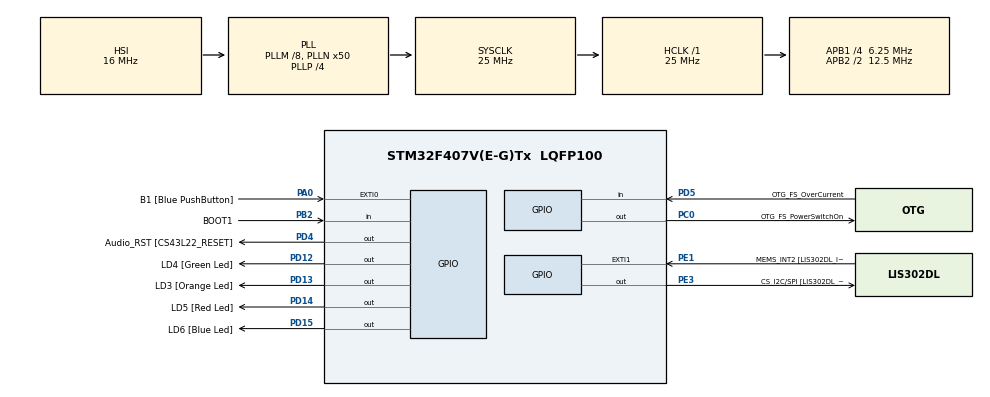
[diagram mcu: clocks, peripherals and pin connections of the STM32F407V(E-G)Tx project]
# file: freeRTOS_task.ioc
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Mcu.Family=STM32F4
Mcu.Name=STM32F407V(E-G)Tx
Mcu.Package=LQFP100
NVIC.PriorityGroup=NVIC_PRIORITYGROUP_4
NVIC.TIM6_DAC_IRQn=true\:0\:0\:false\:false\:true\:false\:true\:true
NVIC.TimeBase=TIM6_DAC_IRQn
NVIC.TimeBaseIP=TIM6
PA0-WKUP.GPIO_Label=B1 [Blue PushButton]
PA0-WKUP.Signal=GPXTI0
PA10.GPIO_Label=OTG_FS_ID
PA10.GPIO_Mode=GPIO_MODE_AF_PP
PA10.GPIO_PuPd=GPIO_NOPULL
PA10.GPIO_Speed=GPIO_SPEED_FREQ_LOW
PA10.Signal=USB_OTG_FS_ID
PA11.GPIO_Label=OTG_FS_DM
PA11.GPIO_Mode=GPIO_MODE_AF_PP
PA11.GPIO_PuPd=GPIO_NOPULL
PA11.GPIO_Speed=GPIO_SPEED_FREQ_LOW
PA11.Signal=USB_OTG_FS_DM
PA12.GPIO_Label=OTG_FS_DP
PA12.GPIO_Mode=GPIO_MODE_AF_PP
PA12.GPIO_PuPd=GPIO_NOPULL
PA12.GPIO_Speed=GPIO_SPEED_FREQ_LOW
PA12.Signal=USB_OTG_FS_DP
PA13.GPIO_Label=SWDIO
PA13.Signal=SYS_JTMS-SWDIO
PA14.GPIO_Label=SWCLK
PA14.Signal=SYS_JTCK-SWCLK
PA4.GPIO_Label=I2S3_WS [CS43L22_LRCK]
PA4.GPIO_Mode=GPIO_MODE_AF_PP
PA4.GPIO_PuPd=GPIO_NOPULL
PA4.GPIO_Speed=GPIO_SPEED_FREQ_LOW
PA4.Signal=I2S3_WS
PA5.GPIO_Label=SPI1_SCK [LIS302DL_SCL/SPC]
PA5.GPIO_Mode=GPIO_MODE_AF_PP
PA5.GPIO_PuPd=GPIO_NOPULL
PA5.GPIO_Speed=GPIO_SPEED_FREQ_LOW
PA5.Signal=SPI1_SCK
PA6.GPIO_Label=SPI1_MISO [LIS302DL_SDO]
PA6.GPIO_Mode=GPIO_MODE_AF_PP
PA6.GPIO_PuPd=GPIO_NOPULL
PA6.GPIO_Speed=GPIO_SPEED_FREQ_LOW
PA6.Signal=SPI1_MISO
PA7.GPIO_Label=SPI1_MOSI [LIS302DL_SDA/SDI/SDO]
PA7.GPIO_Mode=GPIO_MODE_AF_PP
PA7.GPIO_PuPd=GPIO_NOPULL
PA7.GPIO_Speed=GPIO_SPEED_FREQ_LOW
PA7.Signal=SPI1_MOSI
PA9.GPIO_Label=VBUS_FS
PA9.GPIO_Mode=GPIO_MODE_INPUT
PA9.GPIO_PuPd=GPIO_NOPULL
PA9.Signal=USB_OTG_FS_VBUS
PB10.GPIO_Label=CLK_IN [MP45DT02_CLK]
PB10.GPIO_Mode=GPIO_MODE_AF_PP
PB10.GPIO_PuPd=GPIO_NOPULL
PB10.GPIO_Speed=GPIO_SPEED_FREQ_LOW
PB10.Signal=I2S2_CK
PB2.GPIO_Label=BOOT1
PB2.GPIO_Mode=GPIO_MODE_INPUT
PB2.GPIO_PuPd=GPIO_NOPULL
PB2.Signal=GPIO_Input
PB3.GPIO_Label=SWO
PB3.Signal=SYS_JTDO-SWO
PB6.GPIO_Label=Audio_SCL [CS43L22_SCL]
PB6.GPIO_Mode=GPIO_MODE_AF_OD
PB6.GPIO_PuPd=GPIO_NOPULL
PB6.GPIO_Speed=GPIO_SPEED_FREQ_LOW
PB6.Signal=I2C1_SCL
PB9.GPIO_Label=Audio_SDA [CS43L22_SDA]
PB9.GPIO_Mode=GPIO_MODE_AF_OD
PB9.GPIO_PuPd=GPIO_NOPULL
PB9.GPIO_Speed=GPIO_SPEED_FREQ_LOW
PB9.Signal=I2C1_SDA
PC0.GPIO_Label=OTG_FS_PowerSwitchOn
PC0.GPIO_PuPd=GPIO_NOPULL
PC0.GPIO_Speed=GPIO_SPEED_FREQ_LOW
PC0.PinState=GPIO_PIN_SET
PC0.Signal=GPIO_Output
PC10.GPIO_Label=I2S3_SCK [CS43L22_SCLK]
PC10.GPIO_Mode=GPIO_MODE_AF_PP
PC10.GPIO_PuPd=GPIO_NOPULL
PC10.GPIO_Speed=GPIO_SPEED_FREQ_LOW
PC10.Signal=I2S3_CK
PC12.GPIO_Label=I2S3_SD [CS43L22_SDIN]
PC12.GPIO_Mode=GPIO_MODE_AF_PP
PC12.GPIO_PuPd=GPIO_NOPULL
PC12.GPIO_Speed=GPIO_SPEED_FREQ_LOW
PC12.Signal=I2S3_SD
PC14-OSC32_IN.GPIO_Label=PC14-OSC32_IN
PC14-OSC32_IN.Signal=RCC_OSC32_IN
PC15-OSC32_OUT.GPIO_Label=PC15-OSC32_OUT
PC15-OSC32_OUT.Signal=RCC_OSC32_OUT
PC3.GPIO_Label=PDM_OUT [MP45DT02_DOUT]
PC3.GPIO_Mode=GPIO_MODE_AF_PP
PC3.GPIO_PuPd=GPIO_NOPULL
PC3.GPIO_Speed=GPIO_SPEED_FREQ_LOW
PC3.Signal=I2S2_SD
PC7.GPIO_Label=I2S3_MCK [CS43L22_MCLK]
PC7.GPIO_Mode=GPIO_MODE_AF_PP
PC7.GPIO_PuPd=GPIO_NOPULL
PC7.GPIO_Speed=GPIO_SPEED_FREQ_LOW
PC7.Signal=I2S3_MCK
PD12.GPIO_Label=LD4 [Green Led]
PD12.GPIO_PuPd=GPIO_NOPULL
PD12.GPIO_Speed=GPIO_SPEED_FREQ_LOW
PD12.Signal=GPIO_Output
PD13.GPIO_Label=LD3 [Orange Led]
PD13.GPIO_PuPd=GPIO_NOPULL
PD13.GPIO_Speed=GPIO_SPEED_FREQ_LOW
PD13.Signal=GPIO_Output
PD14.GPIO_Label=LD5 [Red Led]
PD14.GPIO_PuPd=GPIO_NOPULL
PD14.GPIO_Speed=GPIO_SPEED_FREQ_LOW
PD14.Signal=GPIO_Output
PD15.GPIO_Label=LD6 [Blue Led]
PD15.GPIO_PuPd=GPIO_NOPULL
PD15.GPIO_Speed=GPIO_SPEED_FREQ_LOW
PD15.Signal=GPIO_Output
PD4.GPIO_Label=Audio_RST [CS43L22_RESET]
PD4.GPIO_PuPd=GPIO_NOPULL
PD4.GPIO_Speed=GPIO_SPEED_FREQ_LOW
PD4.Signal=GPIO_Output
PD5.GPIO_Label=OTG_FS_OverCurrent
PD5.GPIO_Mode=GPIO_MODE_INPUT
PD5.GPIO_PuPd=GPIO_NOPULL
PD5.Signal=GPIO_Input
PE1.GPIO_Label=MEMS_INT2 [LIS302DL_INT2]
PE1.GPIO_ModeDefaultEXTI=GPIO_MODE_EVT_RISING
PE1.GPIO_PuPd=GPIO_NOPULL
PE1.Signal=GPXTI1
PE3.GPIO_Label=CS_I2C/SPI [LIS302DL_CS_I2C/SPI]
PE3.GPIO_PuPd=GPIO_NOPULL
PE3.GPIO_Speed=GPIO_SPEED_FREQ_LOW
PE3.Signal=GPIO_Output
PH0-OSC_IN.GPIO_Label=PH0-OSC_IN
PH0-OSC_IN.Signal=RCC_OSC_IN
PH1-OSC_OUT.GPIO_Label=PH1-OSC_OUT
PH1-OSC_OUT.Signal=RCC_OSC_OUT
ProjectManager.HeapSize=0x200
ProjectManager.StackSize=0x400
ProjectManager.TargetToolchain=STM32CubeIDE
RCC.48MHZClocksFreq_Value=14285714.285714285
RCC.AHBFreq_Value=25000000
RCC.APB1CLKDivider=RCC_HCLK_DIV4
RCC.APB1Freq_Value=6250000
RCC.APB1TimFreq_Value=12500000
RCC.APB2CLKDivider=RCC_HCLK_DIV2
RCC.APB2Freq_Value=12500000
RCC.APB2TimFreq_Value=25000000
RCC.CortexFreq_Value=25000000
RCC.HCLKFreq_Value=25000000
RCC.HSE_VALUE=8000000
RCC.HSI_VALUE=16000000
RCC.LSE_VALUE=32768
RCC.PLLM=8
RCC.PLLN=50
RCC.PLLP=RCC_PLLP_DIV4
RCC.PLLQ=7
RCC.SYSCLKFreq_VALUE=25000000
RCC.SYSCLKSource=RCC_SYSCLKSOURCE_PLLCLK
RCC.VCOOutputFreq_Value=100000000
VP_SYS_VS_tim6.Mode=TIM6
board=STM32F407G-DISC1

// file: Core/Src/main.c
/* USER CODE BEGIN Header */
/**
  ******************************************************************************
  * @file           : main.c
  * @brief          : Main program body
  ******************************************************************************
  * @attention
  *
  * Copyright (c) 2023 STMicroelectronics.
  * All rights reserved.
  *
  * This software is licensed under terms that can be found in the LICENSE file
  * in the root directory of this software component.
  * If no LICENSE file comes with this software, it is provided AS-IS.
  *
  ******************************************************************************
  */
/* USER CODE END Header */
#include "main.h"

/* USER CODE BEGIN Includes */
#include <stdio.h>
#include "FreeRTOS.h"
#include "task.h"
/* USER CODE END Includes */

/* USER CODE BEGIN PV */
#define DWT_CTRL   (*(volatile uint32_t*)0xE0001000)
/* USER CODE END PV */

void SystemClock_Config(void);
static void MX_GPIO_Init(void);
/* USER CODE BEGIN PFP */
static void led_green_handler(void* parameters);
static void led_red_handler(void* parameters);
static void led_orange_handler(void* parameters);
static void button_handler(void* parameters);
/* USER CODE END PFP */

/* USER CODE BEGIN 0 */
TaskHandle_t task1_handle;
TaskHandle_t task2_handle;
TaskHandle_t task3_handle;
TaskHandle_t task4_handle;

TaskHandle_t volatile next_task_handle = NULL;
/* USER CODE END 0 */

void GPIO_Init(void)
{
	RCC->AHB1ENR |= (1U<<0); // Enable GPIOA Clock
	RCC->AHB1ENR |= (1U<<3); // Enable GPIOD Clock
	GPIOD -> MODER |= (1U<<12*2);
	GPIOD -> MODER |= (1U<<13*2);
	GPIOD -> MODER |= (1U<<14*2);// Set Pin PD12(Green), PD13(Orange), PD14(Red) as Output Mode

	GPIOA->MODER &= ~(1U<<0*2); // Set Pin PA0(Button)
}

int main(void)
{
  /* USER CODE BEGIN 1 */

	GPIO_Init();
	BaseType_t status;
  /* USER CODE END 1 */

  /* MCU Configuration--------------------------------------------------------*/

  /* Reset of all peripherals, Initializes the Flash interface and the Systick. */
  HAL_Init();

  /* Configure the system clock */
  SystemClock_Config();

  /* Initialize all configured peripherals */
  MX_GPIO_Init();
  /* USER CODE BEGIN 2 */
  DWT_CTRL |=(1<<0);

  status = xTaskCreate(led_green_handler,"LED_green_task",200,NULL, 3, &task1_handle);

  configASSERT(status == pdPASS);

  next_task_handle = task1_handle;

  status = xTaskCreate(led_red_handler,"LED_red_task",200,NULL, 2, &task2_handle);

  configASSERT(status == pdPASS);

  status = xTaskCreate(led_orange_handler,"LED_orange_task",200,NULL, 1, &task3_handle);

  configASSERT(status == pdPASS);

  status = xTaskCreate(button_handler,"Button_task",200,NULL, 4, &task4_handle);

  configASSERT(status == pdPASS);

  //start the freeRTOS scheduler
  vTaskStartScheduler();
  /* USER CODE END 2 */

  /* Infinite loop */
  while (1)
  {

  }
}

void SystemClock_Config(void)
{
  RCC_OscInitTypeDef RCC_OscInitStruct = {0};
  RCC_ClkInitTypeDef RCC_ClkInitStruct = {0};

  /** Configure the main internal regulator output voltage
  */
  __HAL_RCC_PWR_CLK_ENABLE();
  __HAL_PWR_VOLTAGESCALING_CONFIG(PWR_REGULATOR_VOLTAGE_SCALE1);

  /** Initializes the RCC Oscillators according to the specified parameters
  * in the RCC_OscInitTypeDef structure.
  */
  RCC_OscInitStruct.OscillatorType = RCC_OSCILLATORTYPE_HSI;
  RCC_OscInitStruct.HSIState = RCC_HSI_ON;
  RCC_OscInitStruct.HSICalibrationValue = RCC_HSICALIBRATION_DEFAULT;
  RCC_OscInitStruct.PLL.PLLState = RCC_PLL_ON;
  RCC_OscInitStruct.PLL.PLLSource = RCC_PLLSOURCE_HSI;
  RCC_OscInitStruct.PLL.PLLM = 8;
  RCC_OscInitStruct.PLL.PLLN = 50;
  RCC_OscInitStruct.PLL.PLLP = RCC_PLLP_DIV4;
  RCC_OscInitStruct.PLL.PLLQ = 7;
  if (HAL_RCC_OscConfig(&RCC_OscInitStruct) != HAL_OK)
  {
    Error_Handler();
  }

  /** Initializes the CPU, AHB and APB buses clocks
  */
  RCC_ClkInitStruct.ClockType = RCC_CLOCKTYPE_HCLK|RCC_CLOCKTYPE_SYSCLK
                              |RCC_CLOCKTYPE_PCLK1|RCC_CLOCKTYPE_PCLK2;
  RCC_ClkInitStruct.SYSCLKSource = RCC_SYSCLKSOURCE_PLLCLK;
  RCC_ClkInitStruct.AHBCLKDivider = RCC_SYSCLK_DIV1;
  RCC_ClkInitStruct.APB1CLKDivider = RCC_HCLK_DIV4;
  RCC_ClkInitStruct.APB2CLKDivider = RCC_HCLK_DIV2;

  if (HAL_RCC_ClockConfig(&RCC_ClkInitStruct, FLASH_LATENCY_0) != HAL_OK)
  {
    Error_Handler();
  }
}

static void MX_GPIO_Init(void)
{
  GPIO_InitTypeDef GPIO_InitStruct = {0};

  /* GPIO Ports Clock Enable */
  __HAL_RCC_GPIOE_CLK_ENABLE();
  __HAL_RCC_GPIOC_CLK_ENABLE();
  __HAL_RCC_GPIOH_CLK_ENABLE();
  __HAL_RCC_GPIOA_CLK_ENABLE();
  __HAL_RCC_GPIOB_CLK_ENABLE();
  __HAL_RCC_GPIOD_CLK_ENABLE();

  /*Configure GPIO pin Output Level */
  HAL_GPIO_WritePin(CS_I2C_SPI_GPIO_Port, CS_I2C_SPI_Pin, GPIO_PIN_RESET);

  /*Configure GPIO pin Output Level */
  HAL_GPIO_WritePin(OTG_FS_PowerSwitchOn_GPIO_Port, OTG_FS_PowerSwitchOn_Pin, GPIO_PIN_SET);

  /*Configure GPIO pin Output Level */
  HAL_GPIO_WritePin(GPIOD, LD4_Pin|LD3_Pin|LD5_Pin|LD6_Pin
                          |Audio_RST_Pin, GPIO_PIN_RESET);

  /*Configure GPIO pin : CS_I2C_SPI_Pin */
  GPIO_InitStruct.Pin = CS_I2C_SPI_Pin;
  GPIO_InitStruct.Mode = GPIO_MODE_OUTPUT_PP;
  GPIO_InitStruct.Pull = GPIO_NOPULL;
  GPIO_InitStruct.Speed = GPIO_SPEED_FREQ_LOW;
  HAL_GPIO_Init(CS_I2C_SPI_GPIO_Port, &GPIO_InitStruct);

  /*Configure GPIO pin : OTG_FS_PowerSwitchOn_Pin */
  GPIO_InitStruct.Pin = OTG_FS_PowerSwitchOn_Pin;
  GPIO_InitStruct.Mode = GPIO_MODE_OUTPUT_PP;
  GPIO_InitStruct.Pull = GPIO_NOPULL;
  GPIO_InitStruct.Speed = GPIO_SPEED_FREQ_LOW;
  HAL_GPIO_Init(OTG_FS_PowerSwitchOn_GPIO_Port, &GPIO_InitStruct);

  /*Configure GPIO pin : PDM_OUT_Pin */
  GPIO_InitStruct.Pin = PDM_OUT_Pin;
  GPIO_InitStruct.Mode = GPIO_MODE_AF_PP;
  GPIO_InitStruct.Pull = GPIO_NOPULL;
  GPIO_InitStruct.Speed = GPIO_SPEED_FREQ_LOW;
  GPIO_InitStruct.Alternate = GPIO_AF5_SPI2;
  HAL_GPIO_Init(PDM_OUT_GPIO_Port, &GPIO_InitStruct);

  /*Configure GPIO pin : B1_Pin */
  GPIO_InitStruct.Pin = B1_Pin;
  GPIO_InitStruct.Mode = GPIO_MODE_IT_RISING;
  GPIO_InitStruct.Pull = GPIO_NOPULL;
  HAL_GPIO_Init(B1_GPIO_Port, &GPIO_InitStruct);

  /*Configure GPIO pin : I2S3_WS_Pin */
  GPIO_InitStruct.Pin = I2S3_WS_Pin;
  GPIO_InitStruct.Mode = GPIO_MODE_AF_PP;
  GPIO_InitStruct.Pull = GPIO_NOPULL;
  GPIO_InitStruct.Speed = GPIO_SPEED_FREQ_LOW;
  GPIO_InitStruct.Alternate = GPIO_AF6_SPI3;
  HAL_GPIO_Init(I2S3_WS_GPIO_Port, &GPIO_InitStruct);

  /*Configure GPIO pins : SPI1_SCK_Pin SPI1_MISO_Pin SPI1_MOSI_Pin */
  GPIO_InitStruct.Pin = SPI1_SCK_Pin|SPI1_MISO_Pin|SPI1_MOSI_Pin;
  GPIO_InitStruct.Mode = GPIO_MODE_AF_PP;
  GPIO_InitStruct.Pull = GPIO_NOPULL;
  GPIO_InitStruct.Speed = GPIO_SPEED_FREQ_LOW;
  GPIO_InitStruct.Alternate = GPIO_AF5_SPI1;
  HAL_GPIO_Init(GPIOA, &GPIO_InitStruct);

  /*Configure GPIO pin : BOOT1_Pin */
  GPIO_InitStruct.Pin = BOOT1_Pin;
  GPIO_InitStruct.Mode = GPIO_MODE_INPUT;
  GPIO_InitStruct.Pull = GPIO_NOPULL;
  HAL_GPIO_Init(BOOT1_GPIO_Port, &GPIO_InitStruct);

  /*Configure GPIO pin : CLK_IN_Pin */
  GPIO_InitStruct.Pin = CLK_IN_Pin;
  GPIO_InitStruct.Mode = GPIO_MODE_AF_PP;
  GPIO_InitStruct.Pull = GPIO_NOPULL;
  GPIO_InitStruct.Speed = GPIO_SPEED_FREQ_LOW;
  GPIO_InitStruct.Alternate = GPIO_AF5_SPI2;
  HAL_GPIO_Init(CLK_IN_GPIO_Port, &GPIO_InitStruct);

  /*Configure GPIO pins : LD4_Pin LD3_Pin LD5_Pin LD6_Pin
                           Audio_RST_Pin */
  GPIO_InitStruct.Pin = LD4_Pin|LD3_Pin|LD5_Pin|LD6_Pin
                          |Audio_RST_Pin;
  GPIO_InitStruct.Mode = GPIO_MODE_OUTPUT_PP;
  GPIO_InitStruct.Pull = GPIO_NOPULL;
  GPIO_InitStruct.Speed = GPIO_SPEED_FREQ_LOW;
  HAL_GPIO_Init(GPIOD, &GPIO_InitStruct);

  /*Configure GPIO pins : I2S3_MCK_Pin I2S3_SCK_Pin I2S3_SD_Pin */
  GPIO_InitStruct.Pin = I2S3_MCK_Pin|I2S3_SCK_Pin|I2S3_SD_Pin;
  GPIO_InitStruct.Mode = GPIO_MODE_AF_PP;
  GPIO_InitStruct.Pull = GPIO_NOPULL;
  GPIO_InitStruct.Speed = GPIO_SPEED_FREQ_LOW;
  GPIO_InitStruct.Alternate = GPIO_AF6_SPI3;
  HAL_GPIO_Init(GPIOC, &GPIO_InitStruct);

  /*Configure GPIO pin : VBUS_FS_Pin */
  GPIO_InitStruct.Pin = VBUS_FS_Pin;
  GPIO_InitStruct.Mode = GPIO_MODE_INPUT;
  GPIO_InitStruct.Pull = GPIO_NOPULL;
  HAL_GPIO_Init(VBUS_FS_GPIO_Port, &GPIO_InitStruct);

  /*Configure GPIO pins : OTG_FS_ID_Pin OTG_FS_DM_Pin OTG_FS_DP_Pin */
  GPIO_InitStruct.Pin = OTG_FS_ID_Pin|OTG_FS_DM_Pin|OTG_FS_DP_Pin;
  GPIO_InitStruct.Mode = GPIO_MODE_AF_PP;
  GPIO_InitStruct.Pull = GPIO_NOPULL;
  GPIO_InitStruct.Speed = GPIO_SPEED_FREQ_LOW;
  GPIO_InitStruct.Alternate = GPIO_AF10_OTG_FS;
  HAL_GPIO_Init(GPIOA, &GPIO_InitStruct);

  /*Configure GPIO pin : OTG_FS_OverCurrent_Pin */
  GPIO_InitStruct.Pin = OTG_FS_OverCurrent_Pin;
  GPIO_InitStruct.Mode = GPIO_MODE_INPUT;
  GPIO_InitStruct.Pull = GPIO_NOPULL;
  HAL_GPIO_Init(OTG_FS_OverCurrent_GPIO_Port, &GPIO_InitStruct);

  /*Configure GPIO pins : Audio_SCL_Pin Audio_SDA_Pin */
  GPIO_InitStruct.Pin = Audio_SCL_Pin|Audio_SDA_Pin;
  GPIO_InitStruct.Mode = GPIO_MODE_AF_OD;
  GPIO_InitStruct.Pull = GPIO_NOPULL;
  GPIO_InitStruct.Speed = GPIO_SPEED_FREQ_LOW;
  GPIO_InitStruct.Alternate = GPIO_AF4_I2C1;
  HAL_GPIO_Init(GPIOB, &GPIO_InitStruct);

  /*Configure GPIO pin : MEMS_INT2_Pin */
  GPIO_InitStruct.Pin = MEMS_INT2_Pin;
  GPIO_InitStruct.Mode = GPIO_MODE_EVT_RISING;
  GPIO_InitStruct.Pull = GPIO_NOPULL;
  HAL_GPIO_Init(MEMS_INT2_GPIO_Port, &GPIO_InitStruct);

}

/* USER CODE BEGIN 4 */
static void led_green_handler(void* parameters)
{

	BaseType_t status;
	while(1)
	{
		//HAL_GPIO_TogglePin(GPIOD, LED_GREEN_PIN);
		GPIOD -> ODR^=(1<<12);
//		HAL_Delay(1000);
		//vTaskDelay(pdMS_TO_TICKS(1000));
		status = xTaskNotifyWait(0,0,NULL,pdMS_TO_TICKS(1000));
		if(status == pdTRUE){
			vTaskSuspendAll();
			next_task_handle = task2_handle;
			xTaskResumeAll();
			//HAL_GPIO_WritePin(GPIOD, LED_GREEN_PIN, GPIO_PIN_SET);
			vTaskDelete(NULL);
		}
		SEGGER_SYSVIEW_PrintfTarget("Toggling Green LED");
//		taskYIELD();
	}
}

static void led_red_handler(void* parameters)
{
	BaseType_t status;
	while(1)
	{
//		HAL_GPIO_TogglePin(GPIOD, LED_RED_PIN);
		GPIOD -> ODR^=(1<<14);
//		HAL_Delay(800);
		SEGGER_SYSVIEW_PrintfTarget("Toggling Red LED");
		//vTaskDelay(pdMS_TO_TICKS(800));
		status = xTaskNotifyWait(0,0,NULL,pdMS_TO_TICKS(800));
		if(status == pdTRUE){
			vTaskSuspendAll();
			next_task_handle = task3_handle;
			xTaskResumeAll();
			//HAL_GPIO_WritePin(GPIOD, LED_RED_PIN, GPIO_PIN_SET);
			vTaskDelete(NULL);
		}

//		SEGGER_SYSVIEW_PrintfTarget("Toggling Red LED");
	}
}

static void led_orange_handler(void* parameters)
{
	BaseType_t status;
	while(1)
	{
		//HAL_GPIO_TogglePin(GPIOD, LED_ORANGE_PIN);
		GPIOD -> ODR^=(1<<13);
		//HAL_Delay(400);
		//vTaskDelay(pdMS_TO_TICKS(400));
		status = xTaskNotifyWait(0,0,NULL,pdMS_TO_TICKS(400));
		if(status == pdTRUE){
			vTaskSuspendAll();
			next_task_handle = NULL;
			xTaskResumeAll();
			//HAL_GPIO_WritePin(GPIOD, LED_ORANGE_PIN, GPIO_PIN_SET);
			vTaskDelete(task4_handle);
			vTaskDelete(NULL);
		}
//		SEGGER_SYSVIEW_PrintfTarget("Toggling Orange LED");
	}
}

static void button_handler(void* parameters)
{
	uint8_t btn_read = 0;
	uint8_t prev_read = 0;

	while(1)
	{
		btn_read = GPIOA -> IDR&(1<<0);

		if(btn_read)
		{
			if(!prev_read)
			{
				xTaskNotify(next_task_handle,0,eNoAction);
			}
		}
		prev_read = btn_read;
		vTaskDelay(pdMS_TO_TICKS(10));

	}
}
/* USER CODE END 4 */

void HAL_TIM_PeriodElapsedCallback(TIM_HandleTypeDef *htim)
{
  if (htim->Instance == TIM6) {
    HAL_IncTick();
  }
}

void Error_Handler(void)
{
  __disable_irq();
  while (1)
  {
  }
}
